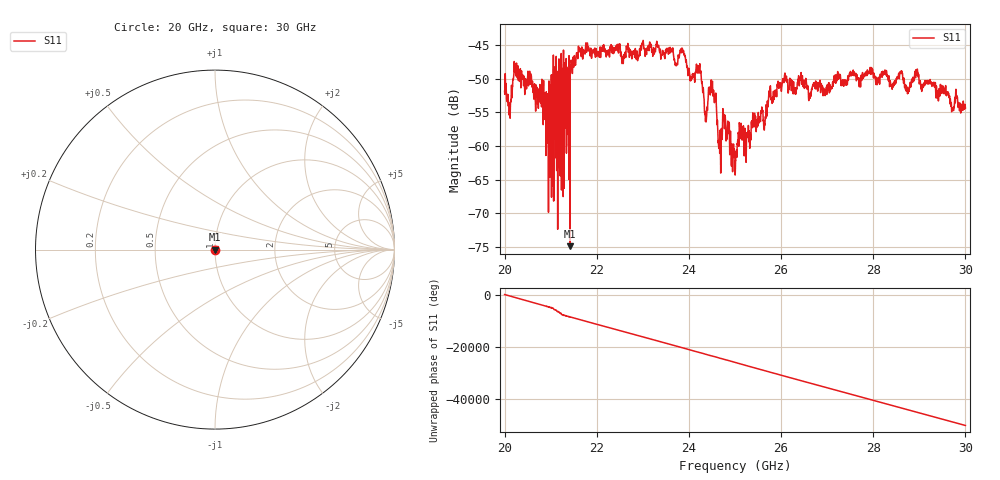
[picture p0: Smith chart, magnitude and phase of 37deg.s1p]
#  HZ  S  RI  R  50.00
! Rohde & Schwarz ZVA40 4Ports - Version 3.90 - 1145.1110k42 SN: 100403
! Date: 2023-10-03 10:40:38
! Measurement: S12
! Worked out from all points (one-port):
!   5001 points, 20 GHz to 30 GHz, reference 50 ohm
!   lowest |S11| = -74.9 dB at 21.42 GHz (marker M1), VSWR 1.00, Z = 50 - j0.00488 ohm
!   |S11| at or under -10 dB: start of sweep to end of sweep
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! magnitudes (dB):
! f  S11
! 20 GHz  -51.9
! 20.11 GHz  -53.9
! 20.24 GHz  -49.6
! 20.8 GHz  -53.8
! 20.94 GHz  -54.7
! 21.08 GHz  -48.6
! 21.25 GHz  -60.5
! 21.42 GHz  -74.9
! 21.6 GHz  -45.2
! 22.5 GHz  -45.3
! 23.75 GHz  -47.9
! 23.85 GHz  -45.5
! 24.21 GHz  -49.1
! 24.37 GHz  -56.1
! 24.52 GHz  -52.5
! 24.65 GHz  -59.7
! 24.78 GHz  -56.1
! 25 GHz  -62.4
! 25.14 GHz  -57.6
! 25.64 GHz  -56.8
! 25.75 GHz  -52.6
! 26.07 GHz  -49.8
! 26.25 GHz  -51.0
! 27.5 GHz  -49.1
! 28.59 GHz  -49.0
! 28.75 GHz  -51.9
! 28.94 GHz  -49.4
! 30 GHz  -54.3
